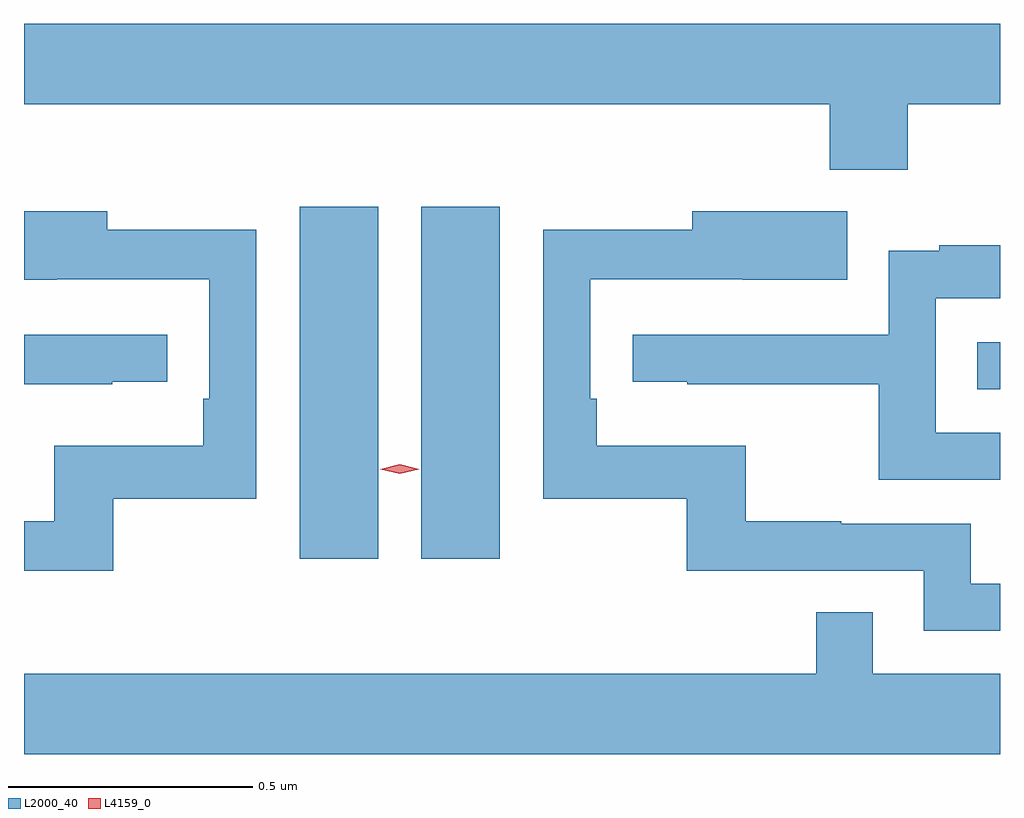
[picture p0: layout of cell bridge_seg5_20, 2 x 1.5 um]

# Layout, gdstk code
import gdstk
lib = gdstk.Library(unit=1e-6, precision=1e-09)
def R(c, l, rs):  # rectangles x0, y0, x1, y1
    for r in rs: c.add(gdstk.rectangle(r[:2], r[2:], *l))
def P(c, l, *ps):  # polygons
    for p in ps: c.add(gdstk.Polygon(p, *l))
L2000_40 = (2000, 40)
L4159_0 = (4159, 0)

bridge_seg5_20 = lib.new_cell('bridge_seg5_20')
R(bridge_seg5_20, L2000_40, [(1108.385,885.132,1108.546,885.853), (1108.634,885.132,1108.795,885.853), (1109.773,885.48,1109.82,885.576)])
P(bridge_seg5_20, L2000_40, [(1109.631,886.064),(1109.82,886.064),(1109.82,886.228),(1107.82,886.228),(1107.82,886.064),(1109.471,886.064),(1109.471,885.929),(1109.631,885.929)],
  [(1108.003,885.255),(1108.296,885.255),(1108.296,885.806),(1107.991,885.806),(1107.991,885.844),(1107.82,885.844),(1107.82,885.704),(1107.887,885.704),(1107.887,885.705),(1108.2,885.705),(1108.2,885.46),(1108.187,885.46),(1108.187,885.364),(1107.882,885.364),(1107.882,885.209),(1107.82,885.209),(1107.82,885.108),(1108.003,885.108)],
  [(1109.82,885.081),(1109.76,885.081),(1109.76,885.204),(1109.495,885.204),(1109.495,885.209),(1109.299,885.209),(1109.299,885.364),(1108.994,885.364),(1108.994,885.46),(1108.98,885.46),(1108.98,885.705),(1109.293,885.705),(1109.293,885.704),(1109.507,885.704),(1109.507,885.844),(1109.189,885.844),(1109.189,885.806),(1108.884,885.806),(1108.884,885.255),(1109.178,885.255),(1109.178,885.108),(1109.664,885.108),(1109.664,884.985),(1109.82,884.985)],
  [(1109.82,885.39),(1109.688,885.39),(1109.688,885.666),(1109.82,885.666),(1109.82,885.775),(1109.695,885.775),(1109.695,885.763),(1109.592,885.763),(1109.592,885.591),(1109.067,885.591),(1109.067,885.495),(1109.179,885.495),(1109.179,885.49),(1109.572,885.49),(1109.572,885.294),(1109.82,885.294)],
  [(1108.001,885.495),(1108.114,885.495),(1108.114,885.591),(1107.82,885.591),(1107.82,885.49),(1108.001,885.49)],
  [(1109.443,885.023),(1109.443,884.896),(1107.82,884.896),(1107.82,884.732),(1109.82,884.732),(1109.82,884.896),(1109.559,884.896),(1109.559,885.023)])
P(bridge_seg5_20, L4159_0, [(1108.59,885.306),(1108.55,885.316),(1108.55,885.316),(1108.55,885.316),(1108.59,885.326),(1108.63,885.316),(1108.63,885.316),(1108.63,885.316)])

lib.write_gds('bridge_seg5_20.gds')
